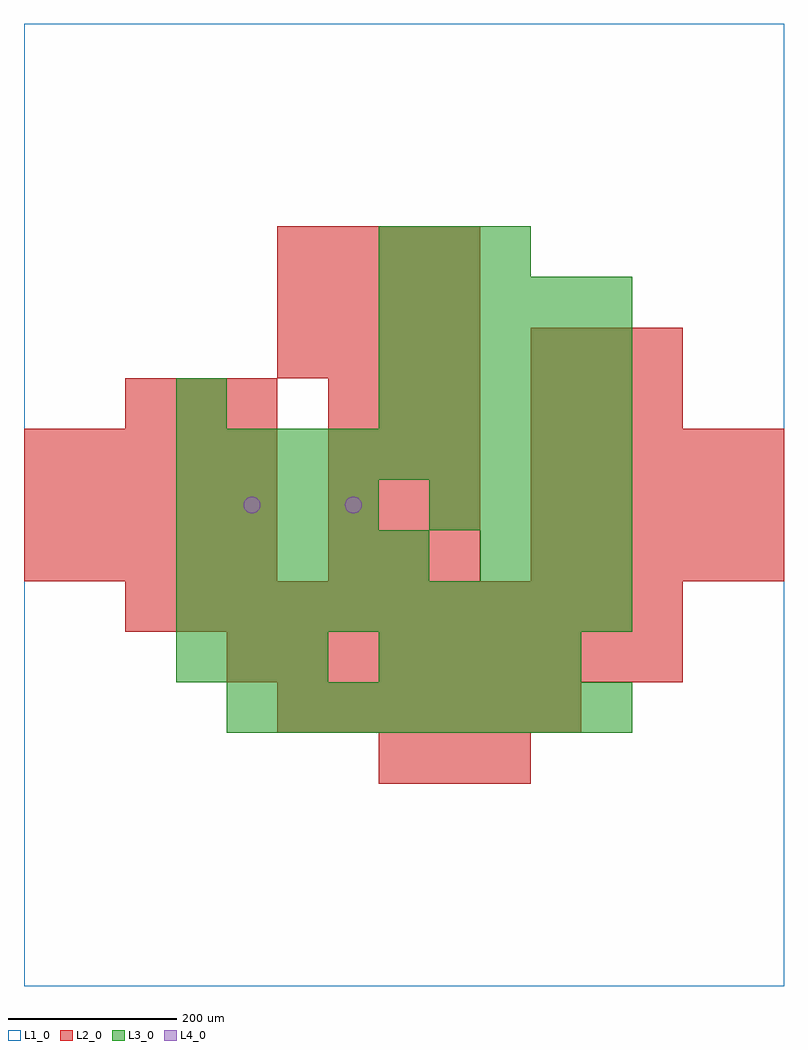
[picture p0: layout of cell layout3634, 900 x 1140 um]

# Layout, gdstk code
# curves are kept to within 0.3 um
import gdstk
lib = gdstk.Library(unit=1e-6, precision=1e-09)
def R(c, l, rs):  # rectangles x0, y0, x1, y1
    for r in rs: c.add(gdstk.rectangle(r[:2], r[2:], *l))
def A(c, l, x, y, w, h, nx, ny, dx, dy):  # array of equal rectangles
    R(c, l, [(x+i*dx, y+j*dy, x+i*dx+w, y+j*dy+h) for i in range(nx) for j in range(ny)])
def P(c, l, *ps):  # polygons
    for p in ps: c.add(gdstk.Polygon(p, *l))
L1_0 = (1, 0)
L2_0 = (2, 0)
L3_0 = (3, 0)
L4_0 = (4, 0)

layout3634 = lib.new_cell('layout3634')
R(layout3634, L1_0, [(0,0,900,1140)])
A(layout3634, L2_0, 420, 240, 60, 60, 3, 1, 60, 0)
A(layout3634, L2_0, 300, 300, 60, 60, 6, 1, 60, 0)
A(layout3634, L2_0, 240, 360, 60, 60, 9, 1, 60, 0)
A(layout3634, L2_0, 120, 420, 60, 60, 11, 1, 60, 0)
A(layout3634, L2_0, 0, 480, 60, 60, 5, 3, 60, 60)
A(layout3634, L2_0, 360, 480, 60, 60, 3, 4, 60, 60)
A(layout3634, L2_0, 600, 480, 60, 60, 5, 3, 60, 60)
A(layout3634, L2_0, 120, 660, 60, 60, 3, 1, 60, 0)
A(layout3634, L2_0, 600, 660, 60, 60, 3, 2, 60, 60)
A(layout3634, L2_0, 300, 720, 60, 60, 4, 3, 60, 60)
A(layout3634, L3_0, 240, 300, 60, 60, 8, 1, 60, 0)
A(layout3634, L3_0, 180, 360, 60, 60, 3, 1, 60, 0)
A(layout3634, L3_0, 420, 360, 60, 60, 4, 1, 60, 0)
A(layout3634, L3_0, 180, 420, 60, 60, 9, 2, 60, 180)
A(layout3634, L3_0, 180, 480, 60, 60, 5, 1, 60, 0)
A(layout3634, L3_0, 540, 480, 60, 60, 3, 1, 60, 0)
A(layout3634, L3_0, 180, 540, 60, 60, 4, 1, 60, 0)
A(layout3634, L3_0, 480, 540, 60, 60, 4, 1, 60, 0)
A(layout3634, L3_0, 420, 660, 60, 60, 5, 3, 60, 60)
A(layout3634, L3_0, 420, 840, 60, 60, 3, 1, 60, 0)
R(layout3634, L3_0, [(180,660,240,720)])
P(layout3634, L4_0, [(280,570),(279.239,573.827),(277.071,577.071),(273.827,579.239),(270,580),(266.173,579.239),(262.929,577.071),(260.761,573.827),(260,570),(260.761,566.173),(262.929,562.929),(266.173,560.761),(270,560),(273.827,560.761),(277.071,562.929),(279.239,566.173)],
  [(400,570),(399.239,573.827),(397.071,577.071),(393.827,579.239),(390,580),(386.173,579.239),(382.929,577.071),(380.761,573.827),(380,570),(380.761,566.173),(382.929,562.929),(386.173,560.761),(390,560),(393.827,560.761),(397.071,562.929),(399.239,566.173)])

lib.write_gds('layout3634.gds')
